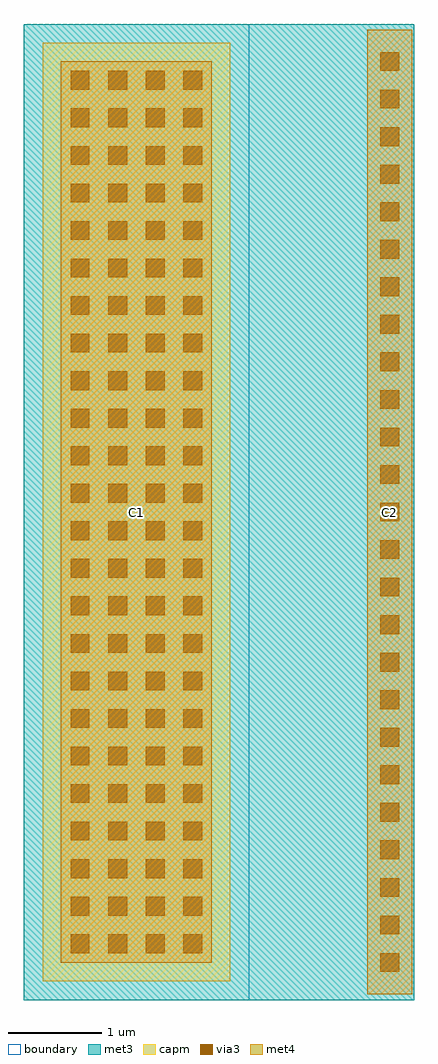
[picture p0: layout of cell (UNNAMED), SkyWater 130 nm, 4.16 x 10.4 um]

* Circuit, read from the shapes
.subckt (UNNAMED) C1 C2
XC1 C1 C2 sky130_fd_pr__cap_mim_m3_1 w=2 l=10
.ends

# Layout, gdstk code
import gdstk
lib = gdstk.Library(unit=1e-6, precision=1e-09)
def R(c, l, rs):  # rectangles x0, y0, x1, y1
    for r in rs: c.add(gdstk.rectangle(r[:2], r[2:], *l))
def A(c, l, x, y, w, h, nx, ny, dx, dy):  # array of equal rectangles
    R(c, l, [(x+i*dx, y+j*dy, x+i*dx+w, y+j*dy+h) for i in range(nx) for j in range(ny)])
met3 = (70, 20)
via3 = (70, 44)
met4 = (71, 20)
capm = (89, 44)
boundary = (235, 4)

c__unnamed_ = lib.new_cell('(UNNAMED)')
R(c__unnamed_, met3, [(-2.08,-5.2,2.08,5.2)])
A(c__unnamed_, via3, 1.72, -4.9, 0.2, 0.2, 1, 25, 0, 0.4)
A(c__unnamed_, via3, -1.58, -4.7, 0.2, 0.2, 4, 24, 0.4, 0.4)
R(c__unnamed_, met4, [(1.58,-5.14,2.06,5.14), (-1.685,-4.805,-0.075,4.805)])
R(c__unnamed_, capm, [(-1.88,-5,0.12,5)])
R(c__unnamed_, boundary, [(-2.08,-5.2,0.32,5.2)])
c__unnamed_.add(gdstk.Label('C2', (1.82,0), layer=71, texttype=5))
c__unnamed_.add(gdstk.Label('C1', (-0.88,0), layer=71, texttype=5))

lib.write_gds('_UNNAMED_.gds')
